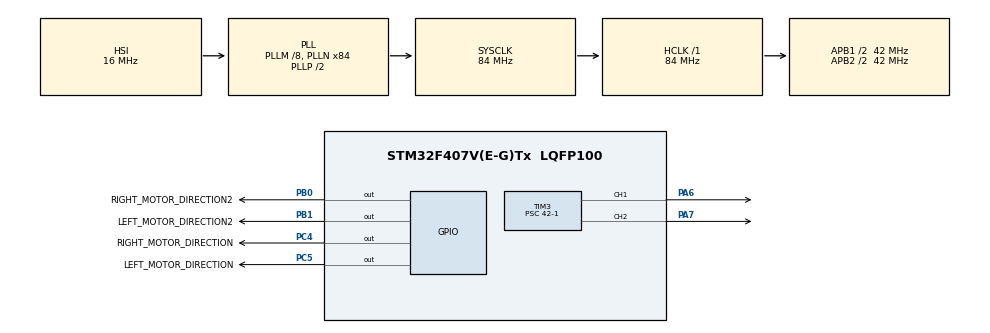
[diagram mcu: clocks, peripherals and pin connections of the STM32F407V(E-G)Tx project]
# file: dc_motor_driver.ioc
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Mcu.Family=STM32F4
Mcu.Name=STM32F407V(E-G)Tx
Mcu.Package=LQFP100
NVIC.PriorityGroup=NVIC_PRIORITYGROUP_0
PA6.Signal=S_TIM3_CH1
PA7.Signal=S_TIM3_CH2
PB0.GPIO_Label=RIGHT_MOTOR_DIRECTION2
PB0.Signal=GPIO_Output
PB1.GPIO_Label=LEFT_MOTOR_DIRECTION2
PB1.Signal=GPIO_Output
PC4.GPIO_Label=RIGHT_MOTOR_DIRECTION
PC4.Signal=GPIO_Output
PC5.GPIO_Label=LEFT_MOTOR_DIRECTION
PC5.Signal=GPIO_Output
ProjectManager.HeapSize=0x200
ProjectManager.StackSize=0x400
ProjectManager.TargetToolchain=STM32CubeIDE
RCC.48MHZClocksFreq_Value=24000000
RCC.AHBFreq_Value=84000000
RCC.APB1CLKDivider=RCC_HCLK_DIV2
RCC.APB1Freq_Value=42000000
RCC.APB1TimFreq_Value=84000000
RCC.APB2CLKDivider=RCC_HCLK_DIV2
RCC.APB2Freq_Value=42000000
RCC.APB2TimFreq_Value=84000000
RCC.CortexFreq_Value=84000000
RCC.HCLKFreq_Value=84000000
RCC.HSE_VALUE=8000000
RCC.HSI_VALUE=16000000
RCC.LSE_VALUE=32768
RCC.PLLM=8
RCC.PLLN=84
RCC.PLLQ=7
RCC.SYSCLKFreq_VALUE=84000000
RCC.SYSCLKSource=RCC_SYSCLKSOURCE_PLLCLK
RCC.VCOOutputFreq_Value=168000000
SH.S_TIM3_CH1.0=TIM3_CH1,PWM Generation1 CH1
SH.S_TIM3_CH2.0=TIM3_CH2,PWM Generation2 CH2
TIM3.Channel-PWM\ Generation1\ CH1=TIM_CHANNEL_1
TIM3.Channel-PWM\ Generation2\ CH2=TIM_CHANNEL_2
TIM3.Period=1000-1
TIM3.Prescaler=42-1
VP_TIM3_VS_ClockSourceINT.Mode=Internal
board=STM32F407G-DISC1

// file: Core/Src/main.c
/* USER CODE BEGIN Header */
/**
  ******************************************************************************
  * @file           : main.c
  * @brief          : Main program body
  ******************************************************************************
  * @attention
  *
  * Copyright (c) 2026 STMicroelectronics.
  * All rights reserved.
  *
  * This software is licensed under terms that can be found in the LICENSE file
  * in the root directory of this software component.
  * If no LICENSE file comes with this software, it is provided AS-IS.
  *
  ******************************************************************************
  */
/* USER CODE END Header */
#include "main.h"

/* USER CODE BEGIN Includes */
#include "dc_motor_driver.h"
/* USER CODE END Includes */

TIM_HandleTypeDef htim3;

/* USER CODE BEGIN PV */
motor_t right_motor;
motor_t left_motor;
/* USER CODE END PV */

void SystemClock_Config(void);
static void MX_GPIO_Init(void);
static void MX_TIM3_Init(void);

int main(void)
{

  /* MCU Configuration--------------------------------------------------------*/

  /* Reset of all peripherals, Initializes the Flash interface and the Systick. */
  HAL_Init();

  /* Configure the system clock */
  SystemClock_Config();

  /* Initialize all configured peripherals */
  MX_GPIO_Init();
  MX_TIM3_Init();
  /* USER CODE BEGIN 2 */
  motor_init(&right_motor, &htim3, TIM_CHANNEL_1, RIGHT_MOTOR_DIRECTION_GPIO_Port, RIGHT_MOTOR_DIRECTION_Pin,RIGHT_MOTOR_DIRECTION2_GPIO_Port,RIGHT_MOTOR_DIRECTION2_Pin);
  motor_init(&left_motor, &htim3, TIM_CHANNEL_2, LEFT_MOTOR_DIRECTION_GPIO_Port, LEFT_MOTOR_DIRECTION_Pin,LEFT_MOTOR_DIRECTION2_GPIO_Port,LEFT_MOTOR_DIRECTION2_Pin);
  motor_set_speed(&right_motor, 900);
  motor_set_speed(&left_motor, 900);
  uint32_t last_tick = HAL_GetTick();
  uint8_t  going_forward = 1;
  motor_forward(&right_motor);
  motor_forward(&left_motor);
  /* USER CODE END 2 */

  /* Infinite loop */
  while (1)
  {

    /* USER CODE BEGIN 3 */
	  if (HAL_GetTick() - last_tick >= 3000)
	      {
	          last_tick = HAL_GetTick();

	          if (going_forward)
	          {
	              motor_backward(&right_motor);
	              motor_backward(&left_motor);
	              going_forward = 0;
	          }
	          else
	          {
	              motor_forward(&right_motor);
	              motor_forward(&left_motor);
	              going_forward = 1;
	          }
	      }

  }
  /* USER CODE END 3 */
}

void SystemClock_Config(void)
{
  RCC_OscInitTypeDef RCC_OscInitStruct = {0};
  RCC_ClkInitTypeDef RCC_ClkInitStruct = {0};

  /** Configure the main internal regulator output voltage
  */
  __HAL_RCC_PWR_CLK_ENABLE();
  __HAL_PWR_VOLTAGESCALING_CONFIG(PWR_REGULATOR_VOLTAGE_SCALE1);

  /** Initializes the RCC Oscillators according to the specified parameters
  * in the RCC_OscInitTypeDef structure.
  */
  RCC_OscInitStruct.OscillatorType = RCC_OSCILLATORTYPE_HSI;
  RCC_OscInitStruct.HSIState = RCC_HSI_ON;
  RCC_OscInitStruct.HSICalibrationValue = RCC_HSICALIBRATION_DEFAULT;
  RCC_OscInitStruct.PLL.PLLState = RCC_PLL_ON;
  RCC_OscInitStruct.PLL.PLLSource = RCC_PLLSOURCE_HSI;
  RCC_OscInitStruct.PLL.PLLM = 8;
  RCC_OscInitStruct.PLL.PLLN = 84;
  RCC_OscInitStruct.PLL.PLLP = RCC_PLLP_DIV2;
  RCC_OscInitStruct.PLL.PLLQ = 7;
  if (HAL_RCC_OscConfig(&RCC_OscInitStruct) != HAL_OK)
  {
    Error_Handler();
  }

  /** Initializes the CPU, AHB and APB buses clocks
  */
  RCC_ClkInitStruct.ClockType = RCC_CLOCKTYPE_HCLK|RCC_CLOCKTYPE_SYSCLK
                              |RCC_CLOCKTYPE_PCLK1|RCC_CLOCKTYPE_PCLK2;
  RCC_ClkInitStruct.SYSCLKSource = RCC_SYSCLKSOURCE_PLLCLK;
  RCC_ClkInitStruct.AHBCLKDivider = RCC_SYSCLK_DIV1;
  RCC_ClkInitStruct.APB1CLKDivider = RCC_HCLK_DIV2;
  RCC_ClkInitStruct.APB2CLKDivider = RCC_HCLK_DIV2;

  if (HAL_RCC_ClockConfig(&RCC_ClkInitStruct, FLASH_LATENCY_2) != HAL_OK)
  {
    Error_Handler();
  }
}

static void MX_TIM3_Init(void)
{

  TIM_ClockConfigTypeDef sClockSourceConfig = {0};
  TIM_MasterConfigTypeDef sMasterConfig = {0};
  TIM_OC_InitTypeDef sConfigOC = {0};

  htim3.Instance = TIM3;
  htim3.Init.Prescaler = 42-1;
  htim3.Init.CounterMode = TIM_COUNTERMODE_UP;
  htim3.Init.Period = 1000-1;
  htim3.Init.ClockDivision = TIM_CLOCKDIVISION_DIV1;
  htim3.Init.AutoReloadPreload = TIM_AUTORELOAD_PRELOAD_DISABLE;
  if (HAL_TIM_Base_Init(&htim3) != HAL_OK)
  {
    Error_Handler();
  }
  sClockSourceConfig.ClockSource = TIM_CLOCKSOURCE_INTERNAL;
  if (HAL_TIM_ConfigClockSource(&htim3, &sClockSourceConfig) != HAL_OK)
  {
    Error_Handler();
  }
  if (HAL_TIM_PWM_Init(&htim3) != HAL_OK)
  {
    Error_Handler();
  }
  sMasterConfig.MasterOutputTrigger = TIM_TRGO_RESET;
  sMasterConfig.MasterSlaveMode = TIM_MASTERSLAVEMODE_DISABLE;
  if (HAL_TIMEx_MasterConfigSynchronization(&htim3, &sMasterConfig) != HAL_OK)
  {
    Error_Handler();
  }
  sConfigOC.OCMode = TIM_OCMODE_PWM1;
  sConfigOC.Pulse = 0;
  sConfigOC.OCPolarity = TIM_OCPOLARITY_HIGH;
  sConfigOC.OCFastMode = TIM_OCFAST_DISABLE;
  if (HAL_TIM_PWM_ConfigChannel(&htim3, &sConfigOC, TIM_CHANNEL_1) != HAL_OK)
  {
    Error_Handler();
  }
  if (HAL_TIM_PWM_ConfigChannel(&htim3, &sConfigOC, TIM_CHANNEL_2) != HAL_OK)
  {
    Error_Handler();
  }
  HAL_TIM_MspPostInit(&htim3);

}

static void MX_GPIO_Init(void)
{
  GPIO_InitTypeDef GPIO_InitStruct = {0};

  /* GPIO Ports Clock Enable */
  __HAL_RCC_GPIOA_CLK_ENABLE();
  __HAL_RCC_GPIOC_CLK_ENABLE();
  __HAL_RCC_GPIOB_CLK_ENABLE();

  /*Configure GPIO pin Output Level */
  HAL_GPIO_WritePin(GPIOC, RIGHT_MOTOR_DIRECTION_Pin|LEFT_MOTOR_DIRECTION_Pin, GPIO_PIN_RESET);

  /*Configure GPIO pin Output Level */
  HAL_GPIO_WritePin(GPIOB, RIGHT_MOTOR_DIRECTION2_Pin|LEFT_MOTOR_DIRECTION2_Pin, GPIO_PIN_RESET);

  /*Configure GPIO pins : RIGHT_MOTOR_DIRECTION_Pin LEFT_MOTOR_DIRECTION_Pin */
  GPIO_InitStruct.Pin = RIGHT_MOTOR_DIRECTION_Pin|LEFT_MOTOR_DIRECTION_Pin;
  GPIO_InitStruct.Mode = GPIO_MODE_OUTPUT_PP;
  GPIO_InitStruct.Pull = GPIO_NOPULL;
  GPIO_InitStruct.Speed = GPIO_SPEED_FREQ_LOW;
  HAL_GPIO_Init(GPIOC, &GPIO_InitStruct);

  /*Configure GPIO pins : RIGHT_MOTOR_DIRECTION2_Pin LEFT_MOTOR_DIRECTION2_Pin */
  GPIO_InitStruct.Pin = RIGHT_MOTOR_DIRECTION2_Pin|LEFT_MOTOR_DIRECTION2_Pin;
  GPIO_InitStruct.Mode = GPIO_MODE_OUTPUT_PP;
  GPIO_InitStruct.Pull = GPIO_NOPULL;
  GPIO_InitStruct.Speed = GPIO_SPEED_FREQ_LOW;
  HAL_GPIO_Init(GPIOB, &GPIO_InitStruct);

}

void Error_Handler(void)
{
  __disable_irq();
  while (1)
  {
  }
}
